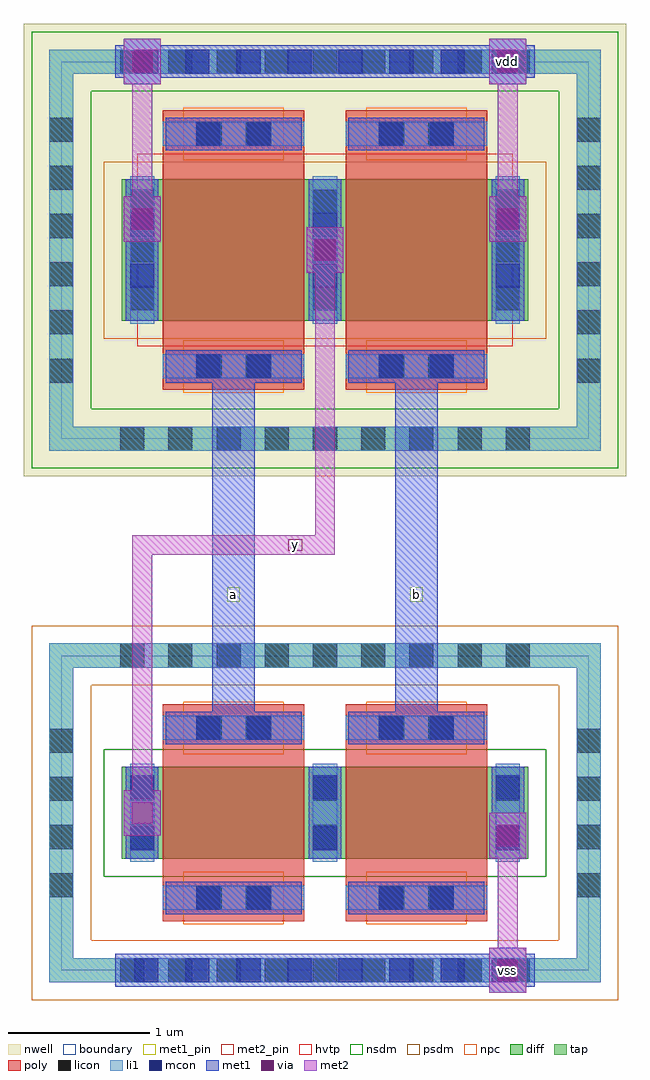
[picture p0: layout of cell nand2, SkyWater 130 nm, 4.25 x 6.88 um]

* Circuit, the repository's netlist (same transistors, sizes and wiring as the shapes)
* SPDX-License-Identifier: Apache-2.0
* Copyright 2026 Mauro Rodriguez Blasco
*
* The encoder's two-input NAND, drawn like a standard cell. The PMOS in parallel share their
* output column, vdd | y | vdd, so y has one column; the NMOS in series share their middle
* column, y | mid | vss. Input a is the NMOS next to y. Reference for LVS (scripts/flow.py lvs nand2).
.subckt nand2 a b y vdd vss
XP1 y a vdd vdd sky130_fd_pr__pfet_01v8_hvt w=1 l=1
XP2 y b vdd vdd sky130_fd_pr__pfet_01v8_hvt w=1 l=1
XN1 y a mid vss sky130_fd_pr__nfet_01v8 w=0.65 l=1
XN2 mid b vss vss sky130_fd_pr__nfet_01v8 w=0.65 l=1
.ends nand2

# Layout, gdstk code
import gdstk
lib = gdstk.Library(unit=1e-6, precision=1e-09)
def R(c, l, rs):  # rectangles x0, y0, x1, y1
    for r in rs: c.add(gdstk.rectangle(r[:2], r[2:], *l))
def A(c, l, x, y, w, h, nx, ny, dx, dy):  # array of equal rectangles
    R(c, l, [(x+i*dx, y+j*dy, x+i*dx+w, y+j*dy+h) for i in range(nx) for j in range(ny)])
nwell = (64, 20)
diff = (65, 20)
tap = (65, 44)
poly = (66, 20)
licon = (66, 44)
li1 = (67, 20)
mcon = (67, 44)
met1_pin = (68, 16)
met1 = (68, 20)
via = (68, 44)
met2_pin = (69, 16)
met2 = (69, 20)
hvtp = (78, 44)
nsdm = (93, 44)
psdm = (94, 20)
npc = (95, 20)
boundary = (235, 4)

sky130_fd_pr__pfet_01v8_ = lib.new_cell('sky130_fd_pr__pfet_01v8_hvt_8DTHA7')
R(sky130_fd_pr__pfet_01v8_, nwell, [(-2.125,-1.595,2.125,1.595)])
R(sky130_fd_pr__pfet_01v8_, diff, [(-1.435,-0.5,1.435,0.5)])
R(sky130_fd_pr__pfet_01v8_, tap, [(-1.945,-1.415,1.945,-1.245), (-1.945,-1.245,-1.775,1.245), (1.775,-1.245,1.945,1.245), (-1.945,1.245,1.945,1.415)])
R(sky130_fd_pr__pfet_01v8_, poly, [(-1.145,-0.985,-0.145,0.985), (0.145,-0.985,1.145,0.985)])
A(sky130_fd_pr__pfet_01v8_, licon, -1.445, -1.415, 0.17, 0.17, 9, 2, 0.34, 2.66)
A(sky130_fd_pr__pfet_01v8_, licon, -1.945, -0.935, 0.17, 0.17, 1, 6, 0, 0.34)
A(sky130_fd_pr__pfet_01v8_, licon, 1.775, -0.935, 0.17, 0.17, 1, 6, 0, 0.34)
A(sky130_fd_pr__pfet_01v8_, licon, -1.375, -0.425, 0.17, 0.17, 3, 3, 1.29, 0.34)
R(sky130_fd_pr__pfet_01v8_, licon, [(-0.9,-0.905,-0.73,-0.735), (-0.56,-0.905,-0.39,-0.735), (0.39,-0.905,0.56,-0.735), (0.73,-0.905,0.9,-0.735), (-0.9,0.735,-0.73,0.905), (-0.56,0.735,-0.39,0.905), (0.39,0.735,0.56,0.905), (0.73,0.735,0.9,0.905)])
A(sky130_fd_pr__pfet_01v8_, li1, -1.375, -0.52, 0.17, 1.04, 3, 1, 1.29, 0)
R(sky130_fd_pr__pfet_01v8_, li1, [(-1.945,-1.415,1.945,-1.245), (-1.945,-1.245,-1.775,1.245), (1.775,-1.245,1.945,1.245), (-1.145,-0.905,-0.145,-0.735), (0.145,-0.905,1.145,-0.735), (-1.145,0.735,-0.145,0.905), (0.145,0.735,1.145,0.905), (-1.945,1.245,1.945,1.415)])
A(sky130_fd_pr__pfet_01v8_, mcon, -1.375, -0.265, 0.17, 0.17, 3, 2, 1.29, 0.36)
A(sky130_fd_pr__pfet_01v8_, mcon, -1.345, 1.245, 0.17, 0.17, 8, 1, 0.36, 0)
R(sky130_fd_pr__pfet_01v8_, mcon, [(-0.91,-0.905,-0.74,-0.735), (-0.55,-0.905,-0.38,-0.735), (0.38,-0.905,0.55,-0.735), (0.74,-0.905,0.91,-0.735), (-0.91,0.735,-0.74,0.905), (-0.55,0.735,-0.38,0.905), (0.38,0.735,0.55,0.905), (0.74,0.735,0.91,0.905)])
A(sky130_fd_pr__pfet_01v8_, met1, -1.405, -0.5, 0.23, 1, 3, 1, 1.29, 0)
R(sky130_fd_pr__pfet_01v8_, met1, [(-1.125,-0.935,-0.165,-0.705), (0.165,-0.935,1.125,-0.705), (-1.125,0.705,-0.165,0.935), (0.165,0.705,1.125,0.935), (-1.48,1.215,1.48,1.445)])
R(sky130_fd_pr__pfet_01v8_, hvtp, [(-1.325,-0.68,1.325,0.68)])
R(sky130_fd_pr__pfet_01v8_, nsdm, [(-2.07,-1.54,2.07,-1.12), (-2.07,-1.12,-1.65,1.12), (1.65,-1.12,2.07,1.12), (-2.07,1.12,2.07,1.54)])
R(sky130_fd_pr__pfet_01v8_, psdm, [(-1.56,-0.625,1.56,0.625)])
R(sky130_fd_pr__pfet_01v8_, npc, [(-1,-1.005,-0.29,-0.635), (0.29,-1.005,1,-0.635), (-1,0.635,-0.29,1.005), (0.29,0.635,1,1.005)])
R(sky130_fd_pr__pfet_01v8_, boundary, [(-1.86,-1.33,1.86,1.33)])
sky130_fd_pr__pfet_01v8_.add(gdstk.Label('B', (0,-1.33), layer=67, texttype=5))
sky130_fd_pr__pfet_01v8_.add(gdstk.Label('D0', (-1.29,0), layer=67, texttype=5))
sky130_fd_pr__pfet_01v8_.add(gdstk.Label('G0', (-0.645,0.82), layer=67, texttype=5))
sky130_fd_pr__pfet_01v8_.add(gdstk.Label('S1', (0,0), layer=67, texttype=5))
sky130_fd_pr__pfet_01v8_.add(gdstk.Label('G1', (0.645,0.82), layer=67, texttype=5))

sky130_fd_pr__nfet_01v8_ = lib.new_cell('sky130_fd_pr__nfet_01v8_R85Q2S')
R(sky130_fd_pr__nfet_01v8_, diff, [(-1.435,-0.325,1.435,0.325)])
R(sky130_fd_pr__nfet_01v8_, tap, [(-1.945,-1.195,1.945,-1.025), (-1.945,-1.025,-1.775,1.025), (1.775,-1.025,1.945,1.025), (-1.945,1.025,1.945,1.195)])
R(sky130_fd_pr__nfet_01v8_, poly, [(-1.145,-0.765,-0.145,0.765), (0.145,-0.765,1.145,0.765)])
A(sky130_fd_pr__nfet_01v8_, licon, -1.445, -1.195, 0.17, 0.17, 9, 2, 0.34, 2.22)
A(sky130_fd_pr__nfet_01v8_, licon, -1.945, -0.595, 0.17, 0.17, 1, 4, 0, 0.34)
A(sky130_fd_pr__nfet_01v8_, licon, 1.775, -0.595, 0.17, 0.17, 1, 4, 0, 0.34)
A(sky130_fd_pr__nfet_01v8_, licon, -1.375, -0.255, 0.17, 0.17, 3, 2, 1.29, 0.34)
R(sky130_fd_pr__nfet_01v8_, licon, [(-0.9,-0.685,-0.73,-0.515), (-0.56,-0.685,-0.39,-0.515), (0.39,-0.685,0.56,-0.515), (0.73,-0.685,0.9,-0.515), (-0.9,0.515,-0.73,0.685), (-0.56,0.515,-0.39,0.685), (0.39,0.515,0.56,0.685), (0.73,0.515,0.9,0.685)])
A(sky130_fd_pr__nfet_01v8_, li1, -1.375, -0.345, 0.17, 0.69, 3, 1, 1.29, 0)
R(sky130_fd_pr__nfet_01v8_, li1, [(-1.945,-1.195,1.945,-1.025), (-1.945,-1.025,-1.775,1.025), (1.775,-1.025,1.945,1.025), (-1.145,-0.685,-0.145,-0.515), (0.145,-0.685,1.145,-0.515), (-1.145,0.515,-0.145,0.685), (0.145,0.515,1.145,0.685), (-1.945,1.025,1.945,1.195)])
A(sky130_fd_pr__nfet_01v8_, mcon, -1.345, -1.195, 0.17, 0.17, 8, 1, 0.36, 0)
A(sky130_fd_pr__nfet_01v8_, mcon, -1.375, -0.265, 0.17, 0.17, 3, 2, 1.29, 0.36)
R(sky130_fd_pr__nfet_01v8_, mcon, [(-0.91,-0.685,-0.74,-0.515), (-0.55,-0.685,-0.38,-0.515), (0.38,-0.685,0.55,-0.515), (0.74,-0.685,0.91,-0.515), (-0.91,0.515,-0.74,0.685), (-0.55,0.515,-0.38,0.685), (0.38,0.515,0.55,0.685), (0.74,0.515,0.91,0.685)])
A(sky130_fd_pr__nfet_01v8_, met1, -1.405, -0.325, 0.23, 0.65, 3, 1, 1.29, 0)
R(sky130_fd_pr__nfet_01v8_, met1, [(-1.48,-1.225,1.48,-0.995), (-1.125,-0.715,-0.165,-0.485), (0.165,-0.715,1.125,-0.485), (-1.125,0.485,-0.165,0.715), (0.165,0.485,1.125,0.715)])
R(sky130_fd_pr__nfet_01v8_, nsdm, [(-1.56,-0.45,1.56,0.45)])
R(sky130_fd_pr__nfet_01v8_, psdm, [(-2.07,-1.32,2.07,-0.9), (-2.07,-0.9,-1.65,0.9), (1.65,-0.9,2.07,0.9), (-2.07,0.9,2.07,1.32)])
R(sky130_fd_pr__nfet_01v8_, npc, [(-1,-0.785,-0.29,-0.415), (0.29,-0.785,1,-0.415), (-1,0.415,-0.29,0.785), (0.29,0.415,1,0.785)])
R(sky130_fd_pr__nfet_01v8_, boundary, [(-1.86,-1.11,1.86,1.11)])
sky130_fd_pr__nfet_01v8_.add(gdstk.Label('B', (0,-1.11), layer=67, texttype=5))
sky130_fd_pr__nfet_01v8_.add(gdstk.Label('D0', (-1.29,0), layer=67, texttype=5))
sky130_fd_pr__nfet_01v8_.add(gdstk.Label('G0', (-0.645,0.6), layer=67, texttype=5))
sky130_fd_pr__nfet_01v8_.add(gdstk.Label('S1', (0,0), layer=67, texttype=5))
sky130_fd_pr__nfet_01v8_.add(gdstk.Label('G1', (0.645,0.6), layer=67, texttype=5))

nand2 = lib.new_cell('nand2')
R(nand2, met1_pin, [(1.17,2.6,1.26,2.7), (2.46,2.6,2.55,2.7)])
R(nand2, met1, [(3.02,-0.16,3.28,0.16), (3.02,0.79,3.28,1.11), (0.44,0.95,0.7,1.27), (1.065,1.625,1.365,4.345), (2.355,1.625,2.655,4.345), (1.73,4.92,1.99,5.24), (0.44,5.14,0.7,5.46), (3.02,5.14,3.28,5.46), (0.44,6.25,0.7,6.57), (3.02,6.25,3.28,6.57)])
R(nand2, via, [(3.075,-0.075,3.225,0.075), (3.075,0.875,3.225,1.025), (0.495,1.035,0.645,1.185), (1.785,5.005,1.935,5.155), (0.495,5.225,0.645,5.375), (3.075,5.225,3.225,5.375), (0.495,6.335,0.645,6.485), (3.075,6.335,3.225,6.485)])
R(nand2, met2_pin, [(3.11,-0.04,3.19,0.04), (1.6,2.96,1.7,3.04), (3.11,6.37,3.19,6.45)])
R(nand2, met2, [(3.02,-0.16,3.28,0.16), (3.08,0.16,3.22,0.79), (3.02,0.79,3.28,1.11), (0.44,0.95,0.7,1.27), (0.5,1.27,0.64,2.93), (0.5,2.93,1.93,3.07), (1.79,3.07,1.93,4.92), (1.73,4.92,1.99,5.24), (0.44,5.14,0.7,5.46), (3.02,5.14,3.28,5.46), (0.5,5.46,0.64,6.25), (3.08,5.46,3.22,6.25), (0.44,6.25,0.7,6.57), (3.02,6.25,3.28,6.57)])
nand2.add(gdstk.Reference(sky130_fd_pr__pfet_01v8_, (1.86,5.08)))
nand2.add(gdstk.Reference(sky130_fd_pr__nfet_01v8_, (1.86,1.11)))
nand2.add(gdstk.Label('a', (1.215,2.65), layer=68, texttype=5))
nand2.add(gdstk.Label('b', (2.505,2.65), layer=68, texttype=5))
nand2.add(gdstk.Label('y', (1.65,3), layer=69, texttype=5))
nand2.add(gdstk.Label('vdd', (3.15,6.41), layer=69, texttype=5))
nand2.add(gdstk.Label('vss', (3.15,0), layer=69, texttype=5))

lib.write_gds('nand2.gds')
